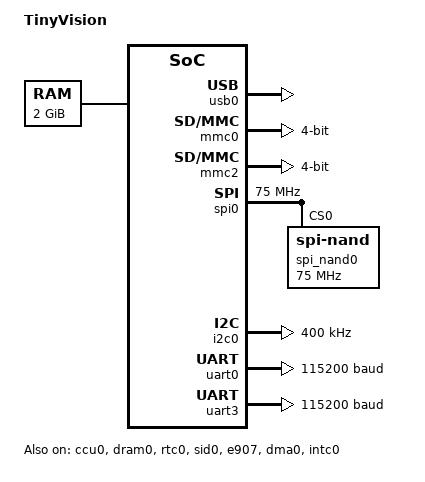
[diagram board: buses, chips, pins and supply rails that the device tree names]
// SPDX-License-Identifier: GPL-2.0+
/dts-v1/;

#include <dt-bindings/dram/dram-param.h>

#include <dt-bindings/gpio/sunxi-gpio.h>
#include <dt-bindings/soc/sun8iw21.h>

/ {
	#address-cells = <1>;
	#size-cells = <1>;
	model = "TinyVision";
	compatible = "syterkit,tinyvision";

	aliases {
		ccu0 = &ccu0;
		dma0 = &dma0;
		dram0 = &dram0;
		e907 = &e907;
		i2c0 = &i2c0;
		intc0 = &intc0;
		mmc0 = &mmc0;
		mmc2 = &mmc2;
		rtc0 = &rtc0;
		sid0 = &sid0;
		spi0 = &spi0;
		spi-nand0 = &spi_nand0;
		uart-e907 = &uart3;
		usb0 = &usb0;
	};

	chosen {
		stdout-path = &uart0;
	};

	ccu0: clock-controller@2001000 {
		compatible = "allwinner,sun8iw21-ccu";
		reg = <SUNXI_CCU_BASE 0x1000>;
		reg-names = "ccu";
		status = "okay";
	};

	dram_memory: memory@40000000 {
		device_type = "memory";
		reg = <0x40000000 0x80000000>;
	};

	dram0: dram-controller {
		compatible = "allwinner,sun8iw21-dram";
		allwinner,dram-memory = <&dram_memory>;
		reg =
			<SUNXI_CCU_BASE 0x1000>,
			<SUNXI_MCTL_COM_BASE 0x1000>,
			<SUNXI_MCTL_PHY_BASE 0x1000>,
			<SUNXI_SYSCRL_BASE 0x1000>,
			<SUNXI_SID_BASE 0x1000>,
			<SUNXI_CPUS_CFG_BASE 0x400>,
			<SUNXI_RPRCM_BASE 0x400>;
		allwinner,dram-parameters =
			<0x00000210>,
			<SUNXI_DRAM_DDR2>,
			<0x007b7bf9>,
			<0x00000000>,
			<0x000000d2>,
			<0x00000000>,
			<0x00000e73>,
			<0x00000002>,
			<0x00000000>,
			<0x00000000>,
			<0x00471992>,
			<0x0131a10c>,
			<0x00057041>,
			<0xb4787896>,
			<0x00000000>,
			<0x48484848>,
			<0x00000048>,
			<0x1621121e>,
			<0x00000000>,
			<0x00000000>,
			<0x00000000>,
			<0x00000022>,
			<0x00000077>,
			<0x34000100>;
		allwinner,rtc = <&rtc0>;
		status = "okay";
	};

	pio: pinctrl@2000000 {
		compatible = "allwinner,sunxi-pinctrl";
		reg = <SUNXI_PIO_BASE 0x1000>;
		allwinner,bank-base = <SUNXI_GPIO_PORT_A>;
		allwinner,bank-count = <11>;
		gpio-controller;
		#gpio-cells = <3>;

		i2c0_pins: i2c0-pins {
			allwinner,pins =
				<SUNXI_GPIO_PORT_E 4 8>,
				<SUNXI_GPIO_PORT_E 5 8>;
		};

		mmc0_pins: mmc0-pins {
			allwinner,pins =
				<SUNXI_GPIO_PORT_F 2 2>,
				<SUNXI_GPIO_PORT_F 3 2>,
				<SUNXI_GPIO_PORT_F 1 2>,
				<SUNXI_GPIO_PORT_F 0 2>,
				<SUNXI_GPIO_PORT_F 5 2>,
				<SUNXI_GPIO_PORT_F 4 2>;
		};

		mmc2_pins: mmc2-pins {
			allwinner,pins =
				<SUNXI_GPIO_PORT_C 0 3>,
				<SUNXI_GPIO_PORT_C 1 3>,
				<SUNXI_GPIO_PORT_C 4 3>,
				<SUNXI_GPIO_PORT_C 3 3>,
				<SUNXI_GPIO_PORT_C 2 3>,
				<SUNXI_GPIO_PORT_C 5 3>;
		};

		spi0_pins: spi0-pins {
			allwinner,pins =
				<SUNXI_GPIO_PORT_C 1 4>,
				<SUNXI_GPIO_PORT_C 0 4>,
				<SUNXI_GPIO_PORT_C 2 4>,
				<SUNXI_GPIO_PORT_C 3 4>;
		};

		uart0_pins: uart0-pins {
			allwinner,pins =
				<SUNXI_GPIO_PORT_H 9 5>,
				<SUNXI_GPIO_PORT_H 10 5>;
		};

		uart3_pins: uart3-pins {
			allwinner,pins =
				<SUNXI_GPIO_PORT_E 0 7>,
				<SUNXI_GPIO_PORT_E 1 7>;
		};
	};

	reserved-memory {
		#address-cells = <1>;
		#size-cells = <1>;
		ranges;

		mmc0_dma: dma-descriptors@40080000 {
			reg = <0x40080000 0x100000>;
			no-map;
		};

		remoteproc_firmware: firmware@40008000 {
			reg = <0x40008000 0x00078000>;
			no-map;
		};

		mmc2_dma: dma-descriptors@40180000 {
			reg = <0x40180000 0x100000>;
			no-map;
		};
	};

	soc {
		compatible = "simple-bus";
		#address-cells = <1>;
		#size-cells = <1>;
		ranges;

		rtc0: rtc@7090100 {
			compatible = "allwinner,sunxi-rtc";
			reg = <SUNXI_RTC_DATA_BASE 0x100>;
			status = "okay";
		};

		sid0: efuse@3006000 {
			compatible = "allwinner,sunxi-sid";
			reg = <SUNXI_SID_BASE 0x400>;
			allwinner,efuse-hv-switch = <(SUNXI_RTC_BASE + 0x204)>;
			status = "okay";
		};

		e907: remoteproc@6010000 {
			compatible = "allwinner,sun8iw21-e907";
			reg = <SUNXI_CCU_BASE 0x1000>,
			      <SUNXI_RISCV_CFG_BASE 0x1000>;
			firmware-name = "e907.elf";
			memory-region = <&remoteproc_firmware>;
			allwinner,firmware-format = "elf32";
			status = "okay";
		};

		dma0: dma-controller@3002000 {
			compatible = "allwinner,sunxi-dma";
			reg = <SUNXI_DMA_BASE 0x1000>;
			#dma-cells = <1>;
			allwinner,mbus-clock-gate = <(SUNXI_CCM_BASE + 0x804) 0>;
			allwinner,clock-gate = <(SUNXI_CCM_BASE + 0x70c) 0>;
			allwinner,reset = <(SUNXI_CCM_BASE + 0x70c) 16>;
			status = "okay";
		};

		intc0: interrupt-controller@3021000 {
			compatible = "arm,gic-400";
			reg = <SUNXI_GIC_BASE 0x1000>,
				<(SUNXI_GIC_BASE + 0x1000) 0x2000>;
			interrupt-controller;
			#interrupt-cells = <3>;
			allwinner,irq-count = <223>;
			status = "okay";
		};

		usb0: usb@4100000 {
			compatible = "allwinner,sunxi-musb";
			reg = <SUNXI_USB0_BASE 0x1000>;
			interrupts = <61>;
			allwinner,usb-id = <0>;
			allwinner,phy-clock = <(SUNXI_CCM_BASE + 0xa70) 31>;
			allwinner,phy-reset = <(SUNXI_CCM_BASE + 0xa70) 30>;
			allwinner,clock-gate = <(SUNXI_CCM_BASE + 0xa8c) 8>;
			allwinner,reset = <(SUNXI_CCM_BASE + 0xa8c) 24>;
			status = "okay";
		};

		mmc0: mmc@4020000 {
			compatible = "allwinner,sunxi-mmc";
			reg = <SUNXI_SMHC0_BASE 0x1000>;
			label = "sdhci0";
			allwinner,mmc-id = <0>;
			bus-width = <4>;
			max-frequency = <50000000>;
			memory-region = <&mmc0_dma>;
			allwinner,clock-gate = <(SUNXI_CCM_BASE + 0x84c) 0>;
			allwinner,reset = <(SUNXI_CCM_BASE + 0x84c) 16>;
			allwinner,module-clock =
				<(SUNXI_CCM_BASE + 0x830) 8 0 1>;
			allwinner,clock-source-rates =
				<24000000 400000000 300000000 0>;
			pinctrl-names = "default";
			pinctrl-0 = <&mmc0_pins>;
			status = "okay";
		};

		mmc2: mmc@4022000 {
			compatible = "allwinner,sunxi-mmc";
			reg = <SUNXI_SMHC2_BASE 0x1000>;
			label = "sdhci2";
			allwinner,mmc-id = <2>;
			bus-width = <4>;
			max-frequency = <50000000>;
			memory-region = <&mmc2_dma>;
			allwinner,clock-gate = <(SUNXI_CCM_BASE + 0x84c) 2>;
			allwinner,reset = <(SUNXI_CCM_BASE + 0x84c) 18>;
			allwinner,module-clock =
				<(SUNXI_CCM_BASE + 0x838) 8 0 1>;
			allwinner,clock-source-rates =
				<24000000 400000000 300000000 0>;
			pinctrl-names = "default";
			pinctrl-0 = <&mmc2_pins>;
			status = "okay";
		};

		spi0: spi@4025000 {
			compatible = "allwinner,sunxi-spi";
			#address-cells = <1>;
			#size-cells = <0>;
			allwinner,spi-id = <0>;
			reg = <SUNXI_SPI0_BASE 0x1000>;
			clock-frequency = <75000000>;
			allwinner,module-clock = <(SUNXI_CCM_BASE + 0x940) 1 8 300000000 0>;
			allwinner,clock-gate = <(SUNXI_CCM_BASE + 0x96c) 0>;
			allwinner,reset = <(SUNXI_CCM_BASE + 0x96c) 16>;
			dmas = <&dma0 22>;
			dma-names = "rx";
			allwinner,lcd-dc-gpio =
				<&pio SUNXI_GPIO_PORT_C 4 1>;
			allwinner,lcd-reset-gpio =
				<&pio SUNXI_GPIO_PORT_C 5 1>;
			pinctrl-names = "default";
			pinctrl-0 = <&spi0_pins>;
			status = "okay";

			spi_nand0: flash@0 {
				compatible = "spi-nand";
				reg = <0>;
				spi-max-frequency = <75000000>;
			};
		};

		i2c0: i2c@2502000 {
			compatible = "allwinner,sunxi-i2c";
			#address-cells = <1>;
			#size-cells = <0>;
			reg = <SUNXI_TWI0_BASE 0x400>;
			clock-frequency = <400000>;
			allwinner,i2c-id = <0>;
			allwinner,parent-clock-frequency = <24000000>;
			allwinner,clock-gate = <(SUNXI_CCM_BASE + 0x91c) 0>;
			allwinner,reset = <(SUNXI_CCM_BASE + 0x91c) 16>;
			pinctrl-names = "default";
			pinctrl-0 = <&i2c0_pins>;
			status = "okay";
		};

		uart0: serial@2500000 {
			compatible = "allwinner,sunxi-uart";
			reg = <SUNXI_UART0_BASE 0x400>;
			current-speed = <115200>;
			clock-frequency = <24000000>;
			allwinner,uart-id = <0>;
			allwinner,clock-gate = <(SUNXI_CCM_BASE + 0x90c) 0>;
			allwinner,reset = <(SUNXI_CCM_BASE + 0x90c) 16>;
			pinctrl-names = "default";
			pinctrl-0 = <&uart0_pins>;
			status = "okay";
		};

		uart3: serial@2500c00 {
			compatible = "allwinner,sunxi-uart";
			reg = <SUNXI_UART3_BASE 0x400>;
			current-speed = <115200>;
			clock-frequency = <24000000>;
			allwinner,uart-id = <3>;
			allwinner,clock-gate = <(SUNXI_CCM_BASE + 0x90c) 3>;
			allwinner,reset = <(SUNXI_CCM_BASE + 0x90c) 19>;
			pinctrl-names = "default";
			pinctrl-0 = <&uart3_pins>;
			status = "okay";
		};
	};
};
